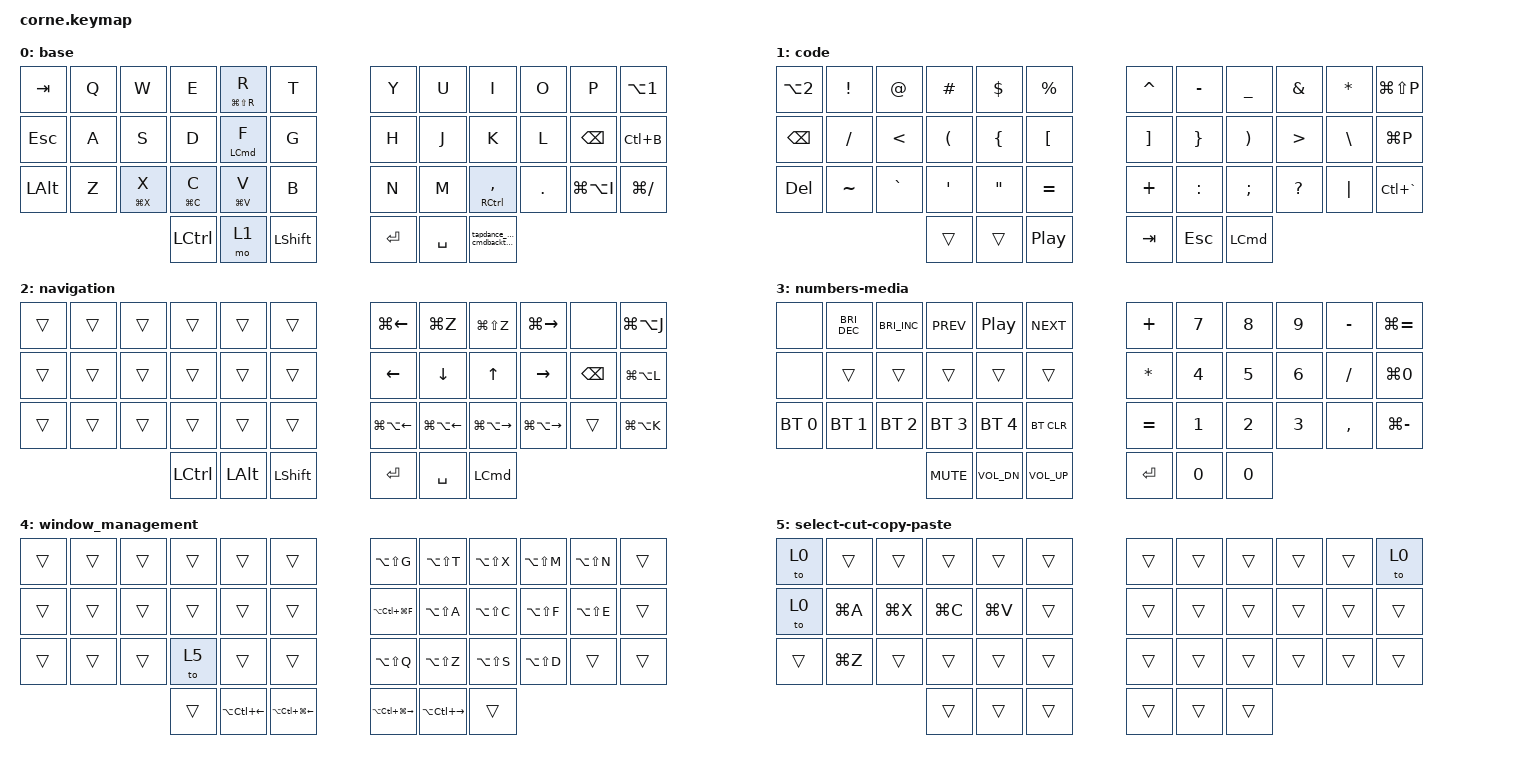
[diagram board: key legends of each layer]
/*
 * Copyright (c) 2020 The ZMK Contributors
 *
 * SPDX-License-Identifier: MIT
 */

#include <behaviors.dtsi>
#include <dt-bindings/zmk/bt.h>
#include <dt-bindings/zmk/keys.h>

/ {
    behaviors {
        tapdance_cmd_cmdbacktick: tapdance_cmd_cmdbacktick {
            compatible = "zmk,behavior-tap-dance";
            label = "TAPDANCE_CMD_CMDBACKTICK";
            #binding-cells = <0>;
            bindings = <&kp LCMD>, <&kp LG(GRAVE)>;
        };

        homerow_mods: homerow_mods {
            compatible = "zmk,behavior-hold-tap";
            label = "HOMEROW_MODS";
            bindings = <&kp>, <&kp>;

            #binding-cells = <2>;
            tapping-term-ms = <200>;
            quick-tap-ms = <250>;
            flavor = "tap-preferred";
        };

        tapdance_i: tapdance_i {
            compatible = "zmk,behavior-tap-dance";
            label = "TAPDANCE_I";
            #binding-cells = <0>;
            bindings = <&kp I>, <&kp LG(LA(I))>;
        };
    };

    macros {
        harpoon1: harpoon1 {
            compatible = "zmk,behavior-macro";
            #binding-cells = <0>;
            bindings = <&kp SPACE &kp NUMBER_1>;
            label = "HARPOON1";
            wait-ms = <5>;
        };

        harpoon2: harpoon2 {
            compatible = "zmk,behavior-macro";
            #binding-cells = <0>;
            bindings = <&kp SPACE &kp NUMBER_2>;
            label = "HARPOON2";
            wait-ms = <5>;
        };

        harpoon3: harpoon3 {
            compatible = "zmk,behavior-macro";
            #binding-cells = <0>;
            bindings = <&kp SPACE &kp NUMBER_3>;
            label = "HARPOON3";
            wait-ms = <5>;
        };

        harpoon4: harpoon4 {
            compatible = "zmk,behavior-macro";
            #binding-cells = <0>;
            bindings = <&kp SPACE &kp NUMBER_4>;
            label = "HARPOON4";
            wait-ms = <5>;
        };

        tmux_next_session: tmux_next_session {
            compatible = "zmk,behavior-macro";
            #binding-cells = <0>;
            bindings = <&kp LC(B) &kp RIGHT_PARENTHESIS>;
            label = "TMUX_NEXT_SESSION";
            wait-ms = <5>;
        };

        tmux_previous_session: tmux_previous_session {
            compatible = "zmk,behavior-macro";
            #binding-cells = <0>;
            bindings = <&kp LC(B) &kp LEFT_PARENTHESIS>;
            label = "TMUX_PREVIOUS_SESSION";
            wait-ms = <5>;
        };

        phpstorm_search_files: phpstorm_search_files {
            compatible = "zmk,behavior-macro";
            #binding-cells = <0>;
            bindings = <&kp SPACE &kp S &kp F>;
            label = "PHPSTORM_SEARCH_FILES";
            wait-ms = <5>;
        };

        phpstorm_search_symbol: phpstorm_search_symbol {
            compatible = "zmk,behavior-macro";
            #binding-cells = <0>;
            bindings = <&kp SPACE &kp S &kp S>;
            label = "PHPSTORM_SEARCH_SYMBOL";
            wait-ms = <5>;
        };
    };

    combos {
        compatible = "zmk,combos";

        mo_layer2 {
            bindings = <&mo 2>;
            key-positions = <15 16>;
        };

        mo_layer3 {
            bindings = <&mo 3>;
            key-positions = <14 15>;
        };

        mo_layer4 {
            bindings = <&mo 4>;
            key-positions = <16 14>;
        };
    };

    keymap {
        compatible = "zmk,keymap";

        base {
            // -----------------------------------------------------------------------------------------
            // |  TAB |  Q  |  W  |  E  |  R  |  T  |   |  Y  |  U   |  I  |  O  |  P  | BKSP |
            // | CTRL |  A  |  S  |  D  |  F  |  G  |   |  H  |  J   |  K  |  L  |  ;  |  '   |
            // | SHFT |  Z  |  X  |  C  |  V  |  B  |   |  N  |  M   |  ,  |  .  |  /  | ESC  |
            //                    | GUI | LWR | SPC |   | ENT | RSE  | ALT |

            bindings = <
&kp TAB       &kp Q  &kp W                  &kp E                  &homerow_mods LG(LS(R)) R  &kp T             &kp Y       &kp U      &kp I                      &kp O    &kp P          &kp LA(NUMBER_1)
&kp ESCAPE    &kp A  &kp S                  &kp D                  &homerow_mods LCMD F       &kp G             &kp H       &kp J      &kp K                      &kp L    &kp BACKSPACE  &kp LC(B)
&kp LEFT_ALT  &kp Z  &homerow_mods LG(X) X  &homerow_mods LG(C) C  &homerow_mods LG(V) V      &kp B             &kp N       &kp M      &homerow_mods RCTRL COMMA  &kp DOT  &kp LG(LA(I))  &kp LG(SLASH)
                                            &kp LCTRL              &mo 1                      &kp LEFT_SHIFT    &kp RETURN  &kp SPACE  &tapdance_cmd_cmdbacktick
            >;
        };

        code {
            // -----------------------------------------------------------------------------------------
            // |  TAB |  1  |  2  |  3  |  4  |  5  |   |  6  |  7  |  8  |  9  |  0  | BKSP |
            // | BTCLR| BT1 | BT2 | BT3 | BT4 | BT5 |   | LFT | DWN |  UP | RGT |     |      |
            // | SHFT |     |     |     |     |     |   |     |     |     |     |     |      |
            //                    | GUI |     | SPC |   | ENT |     | ALT |

            bindings = <
&kp LA(NUMBER_2)  &kp EXCLAMATION  &kp AT_SIGN    &kp HASH              &kp DOLLAR         &kp PERCENT         &kp CARET          &kp MINUS        &kp UNDERSCORE         &kp AMPERSAND     &kp ASTERISK   &kp LG(LS(P))
&kp BACKSPACE     &kp SLASH        &kp LESS_THAN  &kp LEFT_PARENTHESIS  &kp LEFT_BRACE     &kp LEFT_BRACKET    &kp RIGHT_BRACKET  &kp RIGHT_BRACE  &kp RIGHT_PARENTHESIS  &kp GREATER_THAN  &kp BACKSLASH  &kp LG(P)
&kp DELETE        &kp TILDE        &kp GRAVE      &kp SINGLE_QUOTE      &kp DOUBLE_QUOTES  &kp EQUAL           &kp PLUS           &kp COLON        &kp SEMICOLON          &kp QUESTION      &kp PIPE       &kp LC(GRAVE)
                                                  &trans                &trans             &kp C_PLAY_PAUSE    &kp TAB            &kp ESC          &kp LCMD
            >;
        };

        navigation {
            // -----------------------------------------------------------------------------------------
            // |  TAB |  !  |  @  |  #  |  $  |  %  |   |  ^  |  &  |  *  |  (  |  )  | BKSP |
            // | CTRL |     |     |     |     |     |   |  -  |  =  |  [  |  ]  |  \  |  `   |
            // | SHFT |     |     |     |     |     |   |  _  |  +  |  {  |  }  | "|" |  ~   |
            //                    | GUI |     | SPC |   | ENT |     | ALT |

            bindings = <
&trans  &trans  &trans  &trans     &trans        &trans            &kp LG(LEFT)      &kp LG(Z)         &kp LG(LS(Z))      &kp LG(RIGHT_ARROW)  &none          &kp LG(LA(J))
&trans  &trans  &trans  &trans     &trans        &trans            &kp LEFT_ARROW    &kp DOWN          &kp UP_ARROW       &kp RIGHT            &kp BACKSPACE  &kp LG(LA(L))
&trans  &trans  &trans  &trans     &trans        &trans            &kp LG(LA(LEFT))  &kp LG(LA(LEFT))  &kp LG(LA(RIGHT))  &kp LG(LA(RIGHT))    &trans         &kp LG(LA(K))
                        &kp LCTRL  &kp LEFT_ALT  &kp LEFT_SHIFT    &kp RETURN        &kp SPACE         &kp LCMD
            >;
        };

        numbers-media {
            bindings = <
&none         &kp C_BRIGHTNESS_DEC  &kp C_BRIGHTNESS_INC  &kp C_PREV    &kp C_PLAY_PAUSE  &kp C_NEXT         &kp PLUS      &kp NUMBER_7  &kp NUMBER_8  &kp NUMBER_9  &kp MINUS  &kp LG(EQUAL)
&none         &trans                &trans                &trans        &trans            &trans             &kp ASTERISK  &kp NUMBER_4  &kp NUMBER_5  &kp NUMBER_6  &kp SLASH  &kp LG(N0)
&bt BT_SEL 0  &bt BT_SEL 1          &bt BT_SEL 2          &bt BT_SEL 3  &bt BT_SEL 4      &bt BT_CLR         &kp EQUAL     &kp NUMBER_1  &kp NUMBER_2  &kp NUMBER_3  &kp COMMA  &kp LG(MINUS)
                                                          &kp K_MUTE    &kp C_VOL_DN      &kp C_VOLUME_UP    &kp RET       &kp NUMBER_0  &kp NUMBER_0
            >;
        };

        window_management {
            bindings = <
&trans  &trans  &trans  &trans  &trans            &trans                  &kp LA(LS(G))          &kp LA(LS(T))      &kp LA(LS(X))  &kp LA(LS(M))  &kp LA(LS(N))  &trans
&trans  &trans  &trans  &trans  &trans            &trans                  &kp LA(LC(LG(F)))      &kp LA(LS(A))      &kp LA(LS(C))  &kp LA(LS(F))  &kp LA(LS(E))  &trans
&trans  &trans  &trans  &to 5   &trans            &trans                  &kp LA(LS(Q))          &kp LA(LS(Z))      &kp LA(LS(S))  &kp LA(LS(D))  &trans         &trans
                        &trans  &kp LA(LC(LEFT))  &kp LA(LC(LG(LEFT)))    &kp LA(LC(LG(RIGHT)))  &kp LA(LC(RIGHT))  &trans
            >;
        };

        select-cut-copy-paste {
            bindings = <
&to 0   &trans     &trans     &trans     &trans     &trans    &trans  &trans  &trans  &trans  &trans  &to 0
&to 0   &kp LG(A)  &kp LG(X)  &kp LG(C)  &kp LG(V)  &trans    &trans  &trans  &trans  &trans  &trans  &trans
&trans  &kp LG(Z)  &trans     &trans     &trans     &trans    &trans  &trans  &trans  &trans  &trans  &trans
                              &trans     &trans     &trans    &trans  &trans  &trans
            >;
        };
    };
};
